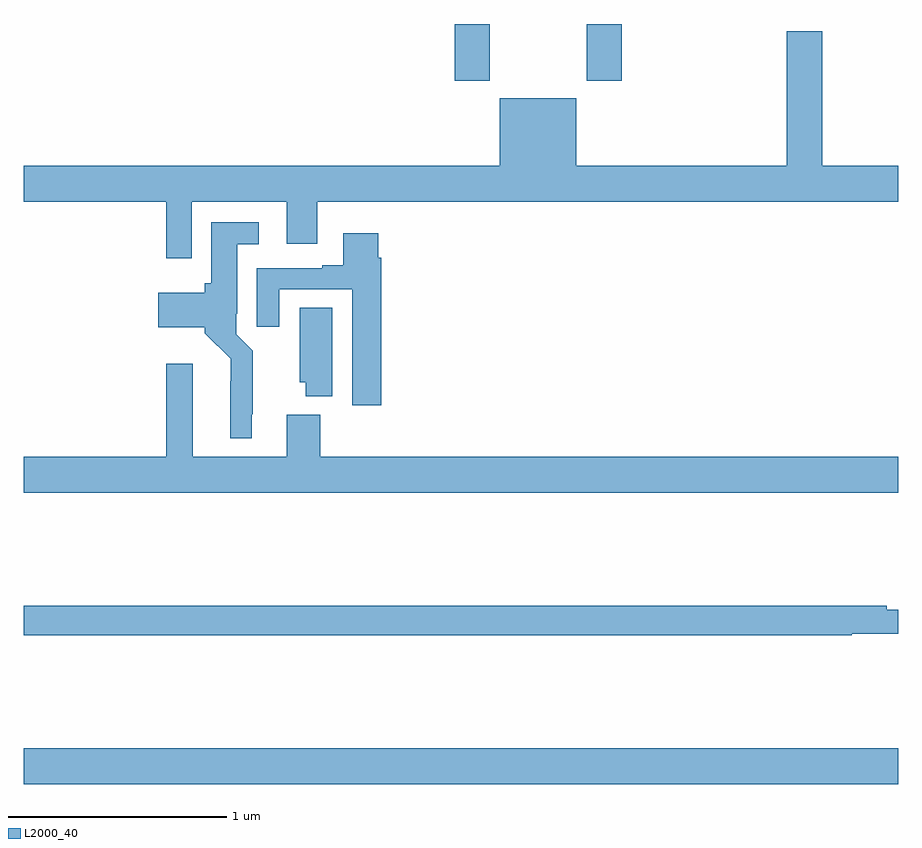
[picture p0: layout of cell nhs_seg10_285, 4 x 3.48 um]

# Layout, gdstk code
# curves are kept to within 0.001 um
import gdstk
lib = gdstk.Library(unit=1e-6, precision=1e-09)
def R(c, l, rs):  # rectangles x0, y0, x1, y1
    for r in rs: c.add(gdstk.rectangle(r[:2], r[2:], *l))
def P(c, l, *ps):  # polygons
    for p in ps: c.add(gdstk.Polygon(p, *l))
L2000_40 = (2000, 40)

nhs_seg10_285 = lib.new_cell('nhs_seg10_285')
R(nhs_seg10_285, L2000_40, [(125,1259.024,129,1259.188), (126.971,1262.241,127.131,1262.5), (127.576,1262.241,127.736,1262.5)])
P(nhs_seg10_285, L2000_40, [(125.769,1261.688),(126.203,1261.688),(126.203,1261.494),(126.343,1261.494),(126.343,1261.688),(129,1261.688),(129,1261.852),(128.653,1261.852),(128.653,1262.467),(128.489,1262.467),(128.489,1261.852),(127.528,1261.852),(127.528,1262.161),(127.178,1262.161),(127.178,1261.852),(125,1261.852),(125,1261.688),(125.653,1261.688),(125.653,1261.428),(125.769,1261.428)],
  [(126.043,1260.715),(126.047,1260.715),(126.047,1261.006),(125.973,1261.08),(125.973,1261.174),(125.977,1261.174),(125.977,1261.493),(126.076,1261.493),(126.076,1261.594),(125.858,1261.594),(125.858,1261.314),(125.828,1261.314),(125.828,1261.27),(125.616,1261.27),(125.616,1261.112),(125.828,1261.112),(125.828,1261.086),(125.946,1260.968),(125.945,1260.605),(126.043,1260.605)],
  [(126.635,1261.43),(126.622,1261.43),(126.622,1261.543),(126.461,1261.543),(126.461,1261.396),(126.365,1261.396),(126.365,1261.383),(126.065,1261.383),(126.065,1261.116),(126.169,1261.116),(126.169,1261.287),(126.503,1261.287),(126.503,1260.756),(126.635,1260.756)],
  [(126.412,1261.202),(126.263,1261.202),(126.263,1260.861),(126.29,1260.861),(126.29,1260.797),(126.412,1260.797)],
  [(129,1260.52),(126.356,1260.52),(126.356,1260.712),(126.203,1260.712),(126.203,1260.52),(125.773,1260.52),(125.773,1260.946),(125.651,1260.946),(125.651,1260.52),(125,1260.52),(125,1260.356),(129,1260.356)],
  [(128.788,1259.712),(129,1259.712),(129,1259.821),(128.948,1259.821),(128.948,1259.84),(125,1259.84),(125,1259.704),(128.788,1259.704)])

lib.write_gds('nhs_seg10_285.gds')
